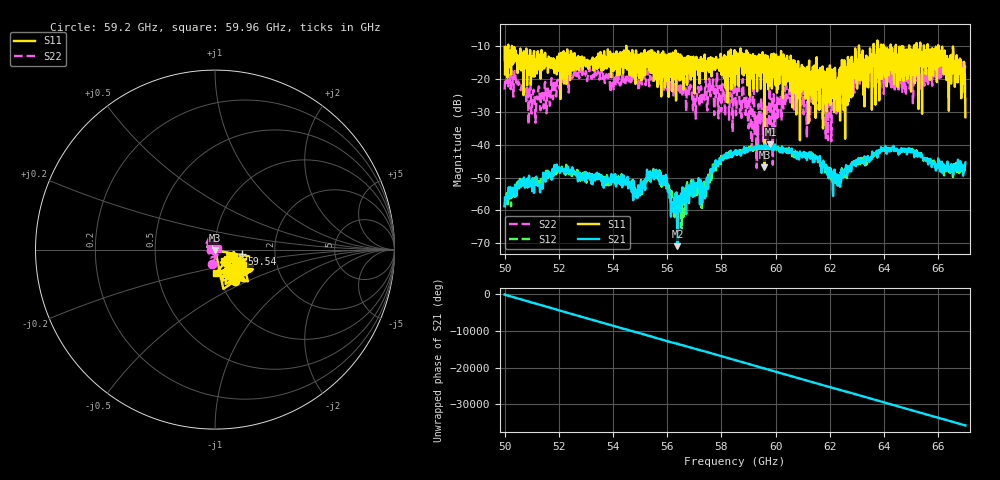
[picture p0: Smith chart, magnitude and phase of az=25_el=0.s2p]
!Created with skrf (http://scikit-rf.org).
# GHz S RI R 50.0
!freq ReS11 ImS11 ReS21 ImS21 ReS12 ImS12 ReS22 ImS22
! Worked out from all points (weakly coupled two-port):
!   1001 points, 50 GHz to 67 GHz, reference 50 ohm
!   highest |S21| = -39.89 dB at 59.81 GHz (marker M1); lowest = -70.9 dB at 56.38 GHz (marker M2)
!   lowest |S11| = -46.8 dB at 59.59 GHz (marker M3), VSWR 1.01, Z = 50.2 - j0.408 ohm
!   |S11| at or under -10 dB: 50.27 GHz to 54.49 GHz (4.216 GHz wide, 8.05 % of centre); 54.49 GHz to 63.07 GHz (8.584 GHz wide, 14.6 % of centre); 66 GHz to end of sweep (the widest 3 of 18)
!   |S22| runs from -47.1 to -13.7 dB; largest |S21 - S12| = 0.0024
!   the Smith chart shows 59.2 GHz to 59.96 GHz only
!   S11 on the Smith chart (normalised r, x): 59.2 GHz: 1.16, -0.43; 59.54 GHz: 1.35, -0.07; 59.96 GHz: 0.98, -0.26
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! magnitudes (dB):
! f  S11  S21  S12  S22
! 50 GHz  -10.2  -58.7  -59.0  -23.2
! 51.07 GHz  -12.3  -53.3  -53.0  -23.3
! 51.92 GHz  -18.6  -46.0  -47.7  -22.8
! 52.84 GHz  -14.3  -50.5  -49.6  -19.1
! 54.91 GHz  -17.8  -56.1  -55.5  -19.7
! 55.68 GHz  -13.7  -49.9  -49.9  -21.7
! 56.38 GHz  -17.6  -70.9  -61.0  -23.3
! 58.5 GHz  -22.0  -42.1  -41.9  -23.1
! 59.2 GHz  -13.7  -41.3  -41.5  -21.7
! 59.54 GHz  -16.4  -40.8  -40.9  -39.0
! 59.59 GHz  -46.8  -40.3  -40.7  -32.5
! 59.81 GHz  -20.1  -39.9  -40.8  -36.5
! 59.96 GHz  -17.7  -41.4  -41.0  -36.3
! 60.66 GHz  -16.7  -42.6  -42.3  -23.7
! 61.34 GHz  -26.0  -43.8  -43.6  -24.1
! 62 GHz  -15.9  -47.4  -47.0  -23.2
! 62.29 GHz  -29.7  -52.4  -50.2  -22.2
! 63.01 GHz  -23.0  -44.5  -45.2  -21.1
! 64.18 GHz  -19.0  -41.0  -41.0  -17.6
! 66.08 GHz  -15.8  -48.2  -47.3  -15.3
! 66.75 GHz  -18.5  -47.8  -47.3  -18.5
! 67 GHz  -31.6  -45.4  -44.9  -16.1
